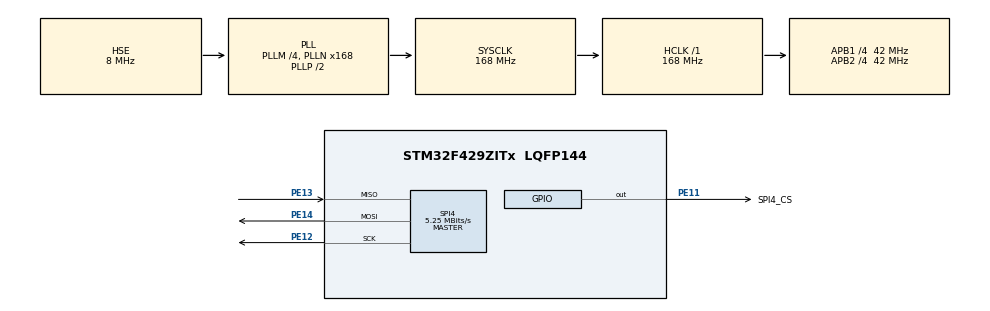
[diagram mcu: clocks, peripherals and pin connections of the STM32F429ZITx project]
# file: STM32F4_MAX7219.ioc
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Mcu.Family=STM32F4
Mcu.Name=STM32F429ZITx
Mcu.Package=LQFP144
NVIC.PriorityGroup=NVIC_PRIORITYGROUP_4
PE11.GPIO_Label=SPI4_CS
PE11.Signal=GPIO_Output
PE12.Mode=Full_Duplex_Master
PE12.Signal=SPI4_SCK
PE13.Mode=Full_Duplex_Master
PE13.Signal=SPI4_MISO
PE14.Mode=Full_Duplex_Master
PE14.Signal=SPI4_MOSI
PH0/OSC_IN.Mode=HSE-External-Oscillator
PH0/OSC_IN.Signal=RCC_OSC_IN
PH1/OSC_OUT.Mode=HSE-External-Oscillator
PH1/OSC_OUT.Signal=RCC_OSC_OUT
ProjectManager.HeapSize=0x200
ProjectManager.StackSize=0x400
ProjectManager.TargetToolchain=MDK-ARM V5
RCC.48MHZClocksFreq_Value=84000000
RCC.AHBFreq_Value=168000000
RCC.APB1CLKDivider=RCC_HCLK_DIV4
RCC.APB1Freq_Value=42000000
RCC.APB1TimFreq_Value=84000000
RCC.APB2CLKDivider=RCC_HCLK_DIV4
RCC.APB2Freq_Value=42000000
RCC.APB2TimFreq_Value=84000000
RCC.CortexFreq_Value=168000000
RCC.HCLKFreq_Value=168000000
RCC.HSE_VALUE=8000000
RCC.HSI_VALUE=16000000
RCC.LSE_VALUE=32768
RCC.PLLM=4
RCC.PLLN=168
RCC.PLLSourceVirtual=RCC_PLLSOURCE_HSE
RCC.SYSCLKFreq_VALUE=168000000
RCC.SYSCLKSource=RCC_SYSCLKSOURCE_PLLCLK
RCC.VCOOutputFreq_Value=336000000
SPI4.BaudRatePrescaler=SPI_BAUDRATEPRESCALER_8
SPI4.CalculateBaudRate=5.25 MBits/s
SPI4.Direction=SPI_DIRECTION_2LINES
SPI4.Mode=SPI_MODE_MASTER
SPI4.VirtualType=VM_MASTER
board=STM32F4_MAX7219

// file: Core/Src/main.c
/**
  ******************************************************************************
  * @file           : main.c
  * @brief          : Main program body
  ******************************************************************************
  ** This notice applies to any and all portions of this file
  * that are not between comment pairs USER CODE BEGIN and
  * USER CODE END. Other portions of this file, whether
  * inserted by the user or by software development tools
  * are owned by their respective copyright owners.
  *
  * COPYRIGHT(c) 2018 STMicroelectronics
  *
  * Redistribution and use in source and binary forms, with or without modification,
  * are permitted provided that the following conditions are met:
  *   1. Redistributions of source code must retain the above copyright notice,
  *      this list of conditions and the following disclaimer.
  *   2. Redistributions in binary form must reproduce the above copyright notice,
  *      this list of conditions and the following disclaimer in the documentation
  *      and/or other materials provided with the distribution.
  *   3. Neither the name of STMicroelectronics nor the names of its contributors
  *      may be used to endorse or promote products derived from this software
  *      without specific prior written permission.
  *
  * THIS SOFTWARE IS PROVIDED BY THE COPYRIGHT HOLDERS AND CONTRIBUTORS "AS IS"
  * AND ANY EXPRESS OR IMPLIED WARRANTIES, INCLUDING, BUT NOT LIMITED TO, THE
  * IMPLIED WARRANTIES OF MERCHANTABILITY AND FITNESS FOR A PARTICULAR PURPOSE ARE
  * DISCLAIMED. IN NO EVENT SHALL THE COPYRIGHT HOLDER OR CONTRIBUTORS BE LIABLE
  * FOR ANY DIRECT, INDIRECT, INCIDENTAL, SPECIAL, EXEMPLARY, OR CONSEQUENTIAL
  * DAMAGES (INCLUDING, BUT NOT LIMITED TO, PROCUREMENT OF SUBSTITUTE GOODS OR
  * SERVICES; LOSS OF USE, DATA, OR PROFITS; OR BUSINESS INTERRUPTION) HOWEVER
  * CAUSED AND ON ANY THEORY OF LIABILITY, WHETHER IN CONTRACT, STRICT LIABILITY,
  * OR TORT (INCLUDING NEGLIGENCE OR OTHERWISE) ARISING IN ANY WAY OUT OF THE USE
  * OF THIS SOFTWARE, EVEN IF ADVISED OF THE POSSIBILITY OF SUCH DAMAGE.
  *
  ******************************************************************************
  */
#include "main.h"
#include "stm32f4xx_hal.h"

/* USER CODE BEGIN Includes */
#include "max7219.h"
/* USER CODE END Includes */

SPI_HandleTypeDef hspi4;

/* USER CODE BEGIN PV */
/* Private variables ---------------------------------------------------------*/
uint8_t CodeB[10] = {MAX7219_CodeB_0, MAX7219_CodeB_1, MAX7219_CodeB_2,
             MAX7219_CodeB_3, MAX7219_CodeB_4, MAX7219_CodeB_5, MAX7219_CodeB_6,
             MAX7219_CodeB_7, MAX7219_CodeB_8, MAX7219_CodeB_9};
unsigned char seconds = 0;
unsigned char minutes = 0;
unsigned char track = 1;

/* USER CODE END PV */

void SystemClock_Config(void);
static void MX_GPIO_Init(void);
static void MX_SPI4_Init(void);

/* USER CODE BEGIN PFP */
/* Private function prototypes -----------------------------------------------*/

/* USER CODE END PFP */

int main(void)
{

  /* MCU Configuration----------------------------------------------------------*/

  /* Reset of all peripherals, Initializes the Flash interface and the Systick. */
  HAL_Init();

  /* Configure the system clock */
  SystemClock_Config();

  /* Initialize all configured peripherals */
  MX_GPIO_Init();
  MX_SPI4_Init();
  /* USER CODE BEGIN 2 */
  MAX7219_Init();
  /* USER CODE END 2 */

  /* Infinite loop */
  /* USER CODE BEGIN WHILE */
  while (1)
  {
    if (seconds >= 59){
      minutes++;
      seconds = 0;
    }
    MAX7219_SendByte(MAX7219_DIG_0, CodeB[minutes]);
    MAX7219_SendByte(MAX7219_DIG_1, MAX7219_CodeB_dash);
    MAX7219_SendByte(MAX7219_DIG_2, CodeB[(seconds-(seconds%10))/10]);
    MAX7219_SendByte(MAX7219_DIG_3, CodeB[(seconds%10)]);
    MAX7219_SendByte(MAX7219_DIG_4, CodeB[track]|MAX7219_CodeB_dot);
    seconds++;
    HAL_Delay(950);

    if (minutes == 2 & seconds == 31){
      track++;
      minutes = 0;
      seconds = 0;
    }

    if (track == 10) {track = 1;}

  /* USER CODE END WHILE */

  }

}

void SystemClock_Config(void)
{

  RCC_OscInitTypeDef RCC_OscInitStruct;
  RCC_ClkInitTypeDef RCC_ClkInitStruct;

    /**Configure the main internal regulator output voltage
    */
  __HAL_RCC_PWR_CLK_ENABLE();

  __HAL_PWR_VOLTAGESCALING_CONFIG(PWR_REGULATOR_VOLTAGE_SCALE1);

    /**Initializes the CPU, AHB and APB busses clocks
    */
  RCC_OscInitStruct.OscillatorType = RCC_OSCILLATORTYPE_HSE;
  RCC_OscInitStruct.HSEState = RCC_HSE_ON;
  RCC_OscInitStruct.PLL.PLLState = RCC_PLL_ON;
  RCC_OscInitStruct.PLL.PLLSource = RCC_PLLSOURCE_HSE;
  RCC_OscInitStruct.PLL.PLLM = 4;
  RCC_OscInitStruct.PLL.PLLN = 168;
  RCC_OscInitStruct.PLL.PLLP = RCC_PLLP_DIV2;
  RCC_OscInitStruct.PLL.PLLQ = 4;
  if (HAL_RCC_OscConfig(&RCC_OscInitStruct) != HAL_OK)
  {
    _Error_Handler(__FILE__, __LINE__);
  }

    /**Initializes the CPU, AHB and APB busses clocks
    */
  RCC_ClkInitStruct.ClockType = RCC_CLOCKTYPE_HCLK|RCC_CLOCKTYPE_SYSCLK
                              |RCC_CLOCKTYPE_PCLK1|RCC_CLOCKTYPE_PCLK2;
  RCC_ClkInitStruct.SYSCLKSource = RCC_SYSCLKSOURCE_PLLCLK;
  RCC_ClkInitStruct.AHBCLKDivider = RCC_SYSCLK_DIV1;
  RCC_ClkInitStruct.APB1CLKDivider = RCC_HCLK_DIV4;
  RCC_ClkInitStruct.APB2CLKDivider = RCC_HCLK_DIV4;

  if (HAL_RCC_ClockConfig(&RCC_ClkInitStruct, FLASH_LATENCY_5) != HAL_OK)
  {
    _Error_Handler(__FILE__, __LINE__);
  }

    /**Configure the Systick interrupt time
    */
  HAL_SYSTICK_Config(HAL_RCC_GetHCLKFreq()/1000);

    /**Configure the Systick
    */
  HAL_SYSTICK_CLKSourceConfig(SYSTICK_CLKSOURCE_HCLK);

  /* SysTick_IRQn interrupt configuration */
  HAL_NVIC_SetPriority(SysTick_IRQn, 0, 0);
}

/* SPI4 init function */
static void MX_SPI4_Init(void)
{

  /* SPI4 parameter configuration*/
  hspi4.Instance = SPI4;
  hspi4.Init.Mode = SPI_MODE_MASTER;
  hspi4.Init.Direction = SPI_DIRECTION_2LINES;
  hspi4.Init.DataSize = SPI_DATASIZE_8BIT;
  hspi4.Init.CLKPolarity = SPI_POLARITY_LOW;
  hspi4.Init.CLKPhase = SPI_PHASE_1EDGE;
  hspi4.Init.NSS = SPI_NSS_SOFT;
  hspi4.Init.BaudRatePrescaler = SPI_BAUDRATEPRESCALER_8;
  hspi4.Init.FirstBit = SPI_FIRSTBIT_MSB;
  hspi4.Init.TIMode = SPI_TIMODE_DISABLE;
  hspi4.Init.CRCCalculation = SPI_CRCCALCULATION_DISABLE;
  hspi4.Init.CRCPolynomial = 10;
  if (HAL_SPI_Init(&hspi4) != HAL_OK)
  {
    _Error_Handler(__FILE__, __LINE__);
  }

}

/** Configure pins as
        * Analog
        * Input
        * Output
        * EVENT_OUT
        * EXTI
*/
static void MX_GPIO_Init(void)
{

  GPIO_InitTypeDef GPIO_InitStruct;

  /* GPIO Ports Clock Enable */
  __HAL_RCC_GPIOH_CLK_ENABLE();
  __HAL_RCC_GPIOE_CLK_ENABLE();

  /*Configure GPIO pin Output Level */
  HAL_GPIO_WritePin(SPI4_CS_GPIO_Port, SPI4_CS_Pin, GPIO_PIN_RESET);

  /*Configure GPIO pin : SPI4_CS_Pin */
  GPIO_InitStruct.Pin = SPI4_CS_Pin;
  GPIO_InitStruct.Mode = GPIO_MODE_OUTPUT_PP;
  GPIO_InitStruct.Pull = GPIO_NOPULL;
  GPIO_InitStruct.Speed = GPIO_SPEED_FREQ_LOW;
  HAL_GPIO_Init(SPI4_CS_GPIO_Port, &GPIO_InitStruct);

}

void _Error_Handler(char *file, int line)
{
  while(1)
  {
  }
}

/************************ (C) COPYRIGHT STMicroelectronics *****END OF FILE****/
